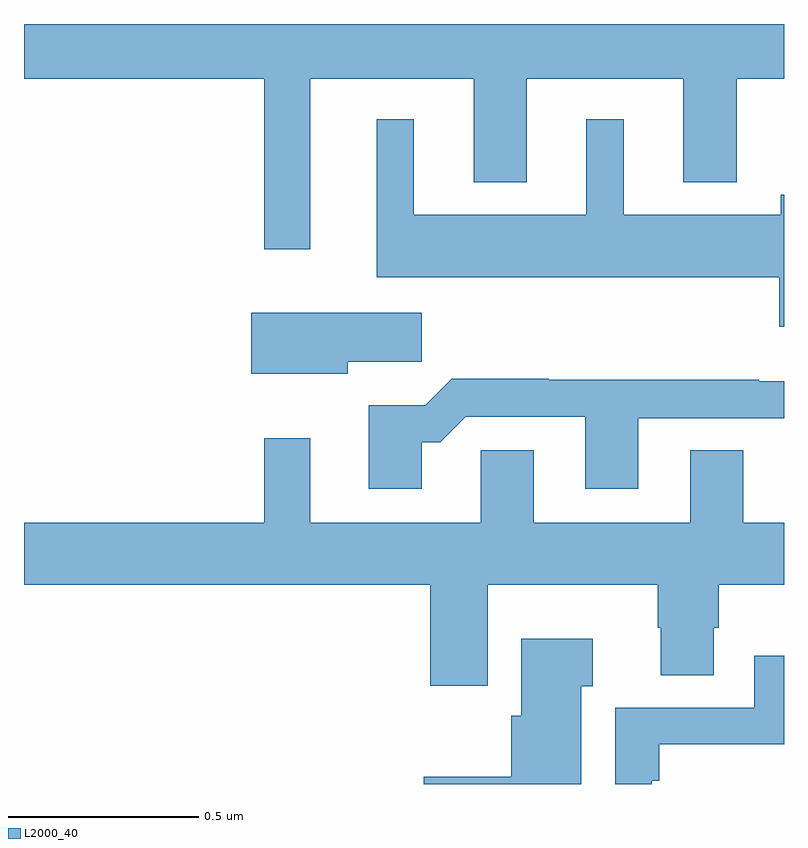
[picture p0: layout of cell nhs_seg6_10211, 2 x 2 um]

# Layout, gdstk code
import gdstk
lib = gdstk.Library(unit=1e-6, precision=1e-09)
def P(c, l, *ps):  # polygons
    for p in ps: c.add(gdstk.Polygon(p, *l))
L2000_40 = (2000, 40)

nhs_seg6_10211 = lib.new_cell('nhs_seg6_10211')
P(nhs_seg6_10211, L2000_40, [(244.753,927.356),(245.183,927.356),(245.183,927.083),(245.323,927.083),(245.323,927.356),(245.735,927.356),(245.735,927.083),(245.875,927.083),(245.875,927.356),(246,927.356),(246,927.5),(244,927.5),(244,927.356),(244.632,927.356),(244.632,926.907),(244.753,926.907)],
  [(246,927.051),(245.992,927.051),(245.992,926.998),(245.578,926.998),(245.578,927.25),(245.48,927.25),(245.48,926.998),(245.026,926.998),(245.026,927.25),(244.928,927.25),(244.928,926.834),(245.987,926.834),(245.987,926.703),(246,926.703)],
  [(244.852,926.611),(245.047,926.611),(245.047,926.74),(244.598,926.74),(244.598,926.579),(244.852,926.579)],
  [(245.047,926.399),(245.096,926.399),(245.163,926.466),(245.477,926.466),(245.477,926.277),(245.617,926.277),(245.617,926.463),(246,926.463),(246,926.56),(245.933,926.56),(245.933,926.564),(245.381,926.564),(245.381,926.567),(245.126,926.567),(245.056,926.497),(244.907,926.497),(244.907,926.277),(245.047,926.277)],
  [(245.753,926.188),(245.341,926.188),(245.341,926.378),(245.202,926.378),(245.202,926.188),(244.753,926.188),(244.753,926.41),(244.632,926.41),(244.632,926.188),(244,926.188),(244,926.024),(245.069,926.024),(245.069,925.758),(245.221,925.758),(245.221,926.024),(245.668,926.024),(245.668,925.911),(245.675,925.911),(245.675,925.786),(245.815,925.786),(245.815,925.911),(245.828,925.911),(245.828,926.024),(246,926.024),(246,926.188),(245.893,926.188),(245.893,926.378),(245.753,926.378)],
  [(245.467,925.757),(245.497,925.757),(245.497,925.882),(245.309,925.882),(245.309,925.68),(245.282,925.68),(245.282,925.519),(245.052,925.519),(245.052,925.5),(245.467,925.5)],
  [(245.652,925.508),(245.672,925.508),(245.672,925.604),(246,925.604),(246,925.838),(245.922,925.838),(245.922,925.701),(245.556,925.701),(245.556,925.5),(245.652,925.5)])

lib.write_gds('nhs_seg6_10211.gds')
